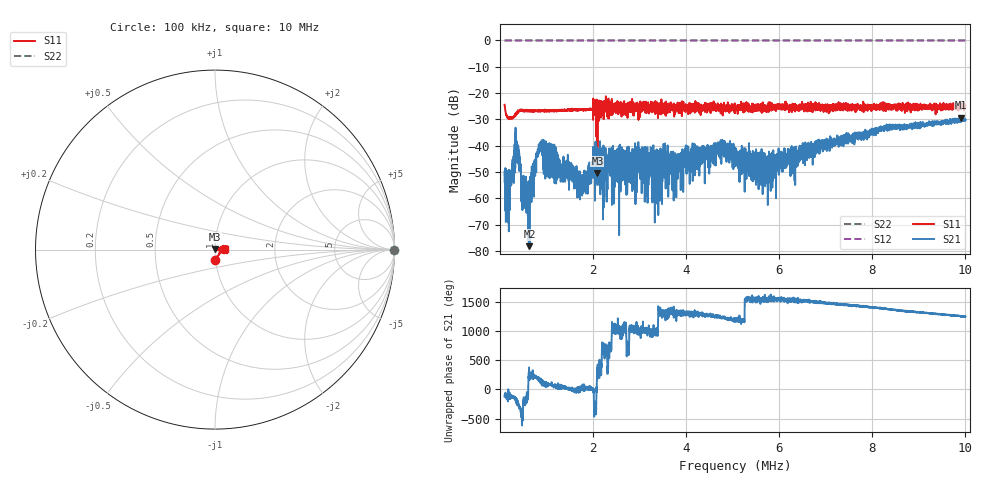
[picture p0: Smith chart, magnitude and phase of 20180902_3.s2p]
! Anritsu VNA Master:  Model: MS2026C/19
! SN:  1815009
! /card0/usr/20180902_3.s2p
! Existing Calibration Information:
! TYPE:  Current Settings,  Active Cal Settings
! TIME:  09/02/2018 12:29:08 PM,  09/02/2018 11:58:48 AM
! INTERNAL TEMP:  52.3 C,  48.8 C
! # POINTS:  4001,  4001
! START FREQ:  100.000 kHz,  100.000 kHz
! STOP FREQ:  10.000 MHz,  10.000 MHz
! SOURCE POWER:  Low,  Low
! IFBW:  500 Hz,  500 Hz
! AVG FACTOR:  1 ,  1
! REF PLANE 1:  0 mm,  0 mm
! REF PLANE 2:  0 mm,  0 mm
! CAL TYPE:  1P2P S11,S21,  1P2P S11,S21
! CAL METHOD:  SOLT,  SOLT
! CAL LINE TYPE:  Coax,  Coax
! DUT PORT 1:  N-Conn(M),  N-Conn(M)
! DUT PORT 2:  N-Conn(M),  N-Conn(M)
! CAL STATUS:  OK: Accuracy High,  --
# GHZ S RI R 50.0
! FREQ.GHZ  S11RE  S11IM  S21RE  S21IM  S12RE  S12IM  S22RE  S22IM
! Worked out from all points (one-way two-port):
!   4001 points, 100 kHz to 10 MHz, reference 50 ohm
!   highest |S21| = -29.32 dB at 9.911 MHz (marker M1); lowest = -78.2 dB at 634.6 kHz (marker M2)
!   lowest |S11| = -50.3 dB at 2.095 MHz (marker M3), VSWR 1.01, Z = 50.1 + j0.298 ohm
!   |S11| at or under -10 dB: start of sweep to end of sweep
!   |S22| runs from 0.0 to 0.0 dB; largest |S21 - S12| = 1
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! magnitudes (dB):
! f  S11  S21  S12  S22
! 100 kHz  -24.4  -53.7  0.0  0.0
! 176.7 kHz  -29.4  -54.0  0.0  0.0
! 372.2 kHz  -27.3  -41.5  0.0  0.0
! 500.9 kHz  -26.5  -52.0  0.0  0.0
! 634.6 kHz  -26.9  -78.2  0.0  0.0
! 785.6 kHz  -26.7  -44.3  0.0  0.0
! 879.6 kHz  -26.8  -39.6  0.0  0.0
! 1.751 MHz  -26.1  -52.2  0.0  0.0
! 2.095 MHz  -50.3  -51.5  0.0  0.0
! 2.261 MHz  -25.4  -48.1  0.0  0.0
! 2.387 MHz  -24.4  -46.5  0.0  0.0
! 2.553 MHz  -27.5  -44.9  0.0  0.0
! 3.402 MHz  -28.2  -66.3  0.0  0.0
! 3.748 MHz  -26.5  -49.1  0.0  0.0
! 3.991 MHz  -24.3  -41.9  0.0  0.0
! 4.704 MHz  -25.6  -40.9  0.0  0.0
! 5.05 MHz  -25.2  -41.7  0.0  0.0
! 5.728 MHz  -26.1  -53.2  0.0  0.0
! 6.701 MHz  -27.0  -42.7  0.0  0.0
! 8.352 MHz  -24.7  -33.2  0.0  0.0
! 9.911 MHz  -25.0  -29.3  0.0  0.0
! 10 MHz  -24.9  -30.4  0.0  0.0
